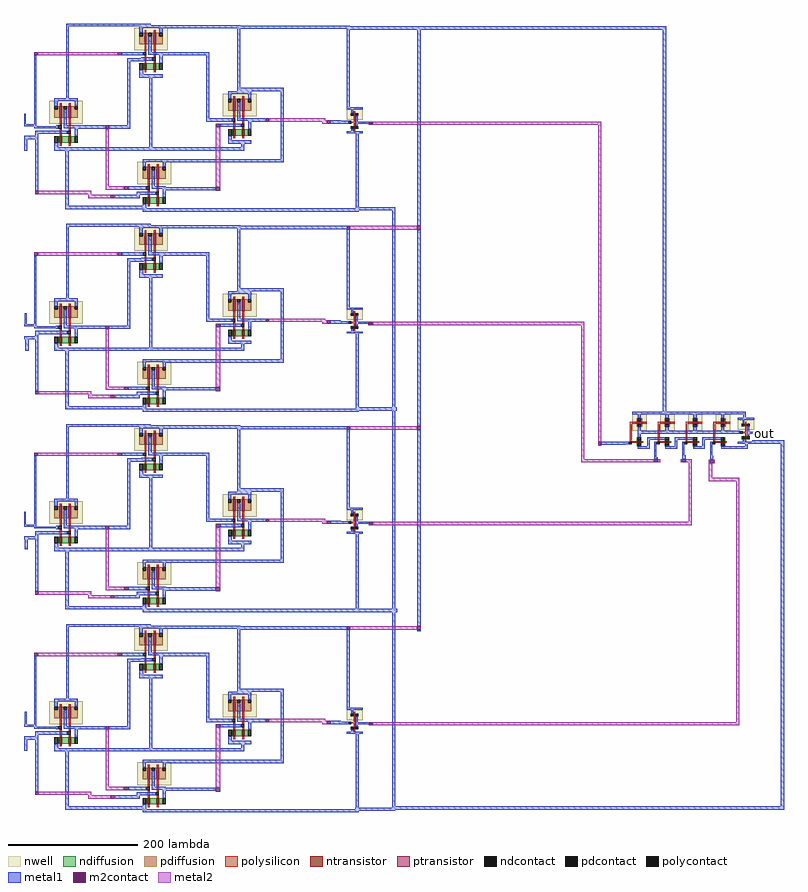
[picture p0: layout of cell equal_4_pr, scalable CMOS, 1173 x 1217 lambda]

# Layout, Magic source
magic
tech scmos
<< metal1 >>
rect 498 1208 991 1213
rect 0 1059 3 1078
rect 0 1021 5 1044
rect 512 929 573 934
rect 1 750 4 770
rect 2 712 7 735
rect 568 625 573 929
rect 607 905 612 1208
rect 512 620 575 625
rect 0 441 3 464
rect 1 406 6 426
rect 568 314 573 620
rect 607 596 612 899
rect 986 615 991 1208
rect 509 309 576 314
rect 1 132 4 155
rect 0 95 5 117
rect 568 9 573 309
rect 607 287 612 590
rect 1132 584 1147 587
rect 891 568 933 572
rect 891 567 928 568
rect 973 548 976 571
rect 1016 551 1019 571
rect 973 545 978 548
rect 1016 545 1021 551
rect 1059 550 1062 571
rect 1124 569 1173 574
rect 1059 544 1064 550
rect 1059 538 1062 539
rect 607 279 612 282
rect 1168 9 1173 569
rect 568 7 1173 9
rect 511 4 1173 7
rect 511 2 573 4
<< m2contact >>
rect 532 1061 538 1066
rect 498 899 503 905
rect 531 752 538 757
rect 607 899 612 905
rect 498 590 503 596
rect 532 443 538 448
rect 607 590 612 596
rect 498 282 503 287
rect 532 134 538 139
rect 886 567 891 572
rect 973 540 978 545
rect 1016 540 1021 545
rect 1059 539 1064 544
rect 607 282 612 287
<< metal2 >>
rect 538 1061 891 1066
rect 503 899 607 905
rect 538 752 865 757
rect 503 590 607 596
rect 860 545 865 752
rect 886 572 891 1061
rect 886 566 891 567
rect 860 540 973 545
rect 978 540 982 545
rect 1014 540 1016 545
rect 1021 540 1031 545
rect 1026 448 1031 540
rect 1057 539 1059 544
rect 1064 539 1066 544
rect 1057 516 1062 539
rect 1057 511 1104 516
rect 538 443 1031 448
rect 503 282 607 287
rect 1099 139 1104 511
rect 538 134 1104 139
use and_4_pr  and_4_pr_0
transform 1 0 969 0 1 595
box -39 -34 166 23
use xnor_new_pr  xnor_new_pr_0
array 0 0 562 0 3 309
transform 1 0 20 0 1 2
box -20 -2 518 288
<< labels >>
rlabel metal1 1143 585 1143 585 1 out
<< end >>

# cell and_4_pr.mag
magic
tech scmos
<< nwell >>
rect -30 -6 -8 19
rect 13 -6 35 19
rect 56 -6 78 19
rect 99 -6 121 19
<< ntransistor >>
rect -23 -25 -16 -22
rect 20 -25 27 -22
rect 63 -25 70 -22
rect 106 -25 113 -22
<< ptransistor >>
rect -23 5 -15 8
rect 20 5 28 8
rect 63 5 71 8
rect 106 5 114 8
<< ndiffusion >>
rect -23 -21 -22 -16
rect -17 -21 -16 -16
rect -23 -22 -16 -21
rect 20 -21 21 -16
rect 26 -21 27 -16
rect 20 -22 27 -21
rect 63 -21 64 -16
rect 69 -21 70 -16
rect 63 -22 70 -21
rect 106 -21 107 -16
rect 112 -21 113 -16
rect 106 -22 113 -21
rect -23 -26 -16 -25
rect -23 -30 -22 -26
rect -17 -30 -16 -26
rect 20 -26 27 -25
rect 20 -30 21 -26
rect 26 -30 27 -26
rect 63 -26 70 -25
rect 63 -30 64 -26
rect 69 -30 70 -26
rect 106 -26 113 -25
rect 106 -30 107 -26
rect 112 -30 113 -26
<< pdiffusion >>
rect -23 9 -22 13
rect -17 9 -15 13
rect -23 8 -15 9
rect 20 9 21 13
rect 26 9 28 13
rect 20 8 28 9
rect 63 9 64 13
rect 69 9 71 13
rect 63 8 71 9
rect 106 9 107 13
rect 112 9 114 13
rect 106 8 114 9
rect -23 4 -15 5
rect -23 0 -22 4
rect -17 0 -15 4
rect 20 4 28 5
rect 20 0 21 4
rect 26 0 28 4
rect 63 4 71 5
rect 63 0 64 4
rect 69 0 71 4
rect 106 4 114 5
rect 106 0 107 4
rect 112 0 114 4
<< ndcontact >>
rect -22 -21 -17 -16
rect 21 -21 26 -16
rect 64 -21 69 -16
rect 107 -21 112 -16
rect -22 -30 -17 -26
rect 21 -30 26 -26
rect 64 -30 69 -26
rect 107 -30 112 -26
<< pdcontact >>
rect -22 9 -17 13
rect 21 9 26 13
rect 64 9 69 13
rect 107 9 112 13
rect -22 0 -17 4
rect 21 0 26 4
rect 64 0 69 4
rect 107 0 112 4
<< polysilicon >>
rect -34 5 -23 8
rect -15 5 -8 8
rect 9 5 20 8
rect 28 5 35 8
rect 52 5 63 8
rect 71 5 78 8
rect 95 5 106 8
rect 114 5 121 8
rect -34 -22 -31 5
rect 9 -22 12 5
rect 52 -22 55 5
rect 95 -22 98 5
rect -34 -23 -23 -22
rect -31 -25 -23 -23
rect -16 -25 -13 -22
rect 9 -23 20 -22
rect 12 -25 20 -23
rect 27 -25 30 -22
rect 52 -23 63 -22
rect 55 -25 63 -23
rect 70 -25 73 -22
rect 95 -23 106 -22
rect 98 -25 106 -23
rect 113 -25 116 -22
<< polycontact >>
rect -36 -27 -31 -23
rect 7 -27 12 -23
rect 50 -27 55 -23
rect 93 -27 98 -23
<< metal1 >>
rect -30 19 145 23
rect -22 13 -17 19
rect 21 13 26 19
rect 64 13 69 19
rect 107 13 112 19
rect 141 12 145 19
rect -22 -6 -17 0
rect 21 -6 26 0
rect 64 -6 69 0
rect 107 -6 112 0
rect -22 -11 136 -6
rect 155 -11 166 -8
rect -22 -16 -17 -11
rect -7 -20 21 -16
rect -39 -27 -36 -23
rect -7 -30 -3 -20
rect 35 -20 64 -16
rect 4 -27 7 -23
rect -22 -34 -3 -30
rect 35 -30 39 -20
rect 78 -20 107 -16
rect 47 -27 50 -23
rect 21 -34 39 -30
rect 78 -30 82 -20
rect 90 -27 93 -23
rect 64 -34 82 -30
rect 144 -30 148 -24
rect 107 -34 148 -30
use inverter_unlab_pr  inverter_unlab_pr_0 /home/rupakantani
transform 1 0 142 0 1 -6
box -9 -20 16 20
<< end >>

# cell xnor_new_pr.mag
magic
tech scmos
<< metal1 >>
rect 309 280 483 285
rect 478 156 483 280
rect 453 138 469 139
rect 453 134 481 138
rect 500 134 518 137
rect -20 130 -1 133
rect -20 110 2 115
rect 492 3 497 122
rect 193 -2 497 3
<< m2contact >>
rect 353 137 358 142
rect 448 134 453 139
<< metal2 >>
rect 358 139 445 142
rect 358 137 448 139
rect 440 134 448 137
use inverter_unlab_pr  inverter_unlab_pr_0
transform 1 0 487 0 1 139
box -9 -20 16 20
use xor_pr_new  xor_pr_new_0
transform 1 0 26 0 1 95
box -30 -97 355 193
<< end >>

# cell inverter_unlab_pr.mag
magic
tech scmos
<< nwell >>
rect -9 1 16 17
<< ntransistor >>
rect 2 -13 4 -9
<< ptransistor >>
rect 2 7 4 11
<< ndiffusion >>
rect 1 -13 2 -9
rect 4 -13 5 -9
<< pdiffusion >>
rect 1 7 2 11
rect 4 7 5 11
<< ndcontact >>
rect -3 -13 1 -9
rect 5 -13 9 -9
<< pdcontact >>
rect -3 7 1 11
rect 5 7 9 11
<< polysilicon >>
rect 2 11 4 14
rect 2 -2 4 7
rect -2 -4 4 -2
rect 2 -9 4 -4
rect 2 -16 4 -13
<< polycontact >>
rect -6 -5 -2 -1
<< metal1 >>
rect -9 17 16 20
rect -2 11 1 17
rect -8 -5 -6 -1
rect 5 -2 8 7
rect 5 -5 16 -2
rect 5 -9 8 -5
rect -2 -17 1 -13
rect -9 -20 16 -17
<< end >>

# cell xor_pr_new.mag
magic
tech scmos
<< metal1 >>
rect 19 189 150 193
rect -30 35 -27 144
rect 19 74 23 189
rect 163 186 288 191
rect 98 144 99 149
rect 105 144 138 149
rect 163 144 240 149
rect 113 135 139 140
rect 113 36 118 135
rect -30 32 7 35
rect 32 31 80 36
rect 85 31 118 36
rect -29 23 9 28
rect -29 -65 -24 23
rect 147 2 152 115
rect 235 47 240 144
rect 283 94 288 186
rect 283 89 355 94
rect 283 86 288 89
rect 235 42 276 47
rect 300 42 332 47
rect 257 34 277 39
rect 289 2 294 13
rect 18 -88 23 2
rect 32 -3 294 2
rect 350 -16 355 89
rect 168 -21 355 -16
rect 115 -63 143 -58
rect 168 -64 250 -59
rect 128 -71 145 -66
rect 93 -76 133 -71
rect 18 -93 141 -88
<< m2contact >>
rect -30 144 -25 149
rect 99 144 105 149
rect 80 31 85 36
rect 250 34 257 39
rect -29 -70 -24 -65
rect 109 -63 115 -58
rect 250 -65 257 -59
rect 88 -76 93 -71
<< metal2 >>
rect -25 144 99 149
rect 80 -58 85 31
rect 80 -63 109 -58
rect 250 -59 257 34
rect -24 -70 58 -65
rect 53 -71 58 -70
rect 53 -76 88 -71
rect 93 -76 95 -71
use nand_unlab_pr  nand_unlab_pr_3
transform 1 0 285 0 1 59
box -24 -51 28 30
use nand_unlab_pr  nand_unlab_pr_2
transform 1 0 153 0 1 -46
box -24 -51 28 30
use nand_unlab_pr  nand_unlab_pr_1
transform 1 0 148 0 1 161
box -24 -51 28 30
use nand_unlab_pr  nand_unlab_pr_0
transform 1 0 17 0 1 48
box -24 -51 28 30
<< end >>

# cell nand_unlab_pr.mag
magic
tech scmos
<< nwell >>
rect -24 -9 28 26
<< ntransistor >>
rect -8 -39 -5 -29
rect 6 -39 9 -29
<< ptransistor >>
rect -8 0 -5 18
rect 6 0 9 18
<< ndiffusion >>
rect -10 -39 -8 -29
rect -5 -39 6 -29
rect 9 -39 15 -29
<< pdiffusion >>
rect -11 13 -8 18
rect -16 0 -8 13
rect -5 13 -2 18
rect 3 13 6 18
rect -5 0 6 13
rect 9 13 15 18
rect 9 0 20 13
<< ndcontact >>
rect -16 -39 -10 -29
rect 15 -39 20 -29
<< pdcontact >>
rect -16 13 -11 18
rect -2 13 3 18
rect 15 13 20 18
<< polysilicon >>
rect -8 18 -5 22
rect 6 18 9 22
rect -8 -12 -5 0
rect -8 -29 -5 -17
rect 6 -20 9 0
rect 6 -29 9 -25
rect -8 -43 -5 -39
rect 6 -43 9 -39
<< polycontact >>
rect -10 -17 -5 -12
rect 4 -25 9 -20
<< metal1 >>
rect -16 26 20 30
rect -16 18 -11 26
rect 15 18 20 26
rect -2 -12 3 13
rect -13 -17 -10 -12
rect -2 -16 20 -12
rect -13 -25 4 -20
rect 15 -29 20 -16
rect -16 -46 -10 -39
rect -16 -51 20 -46
<< end >>
